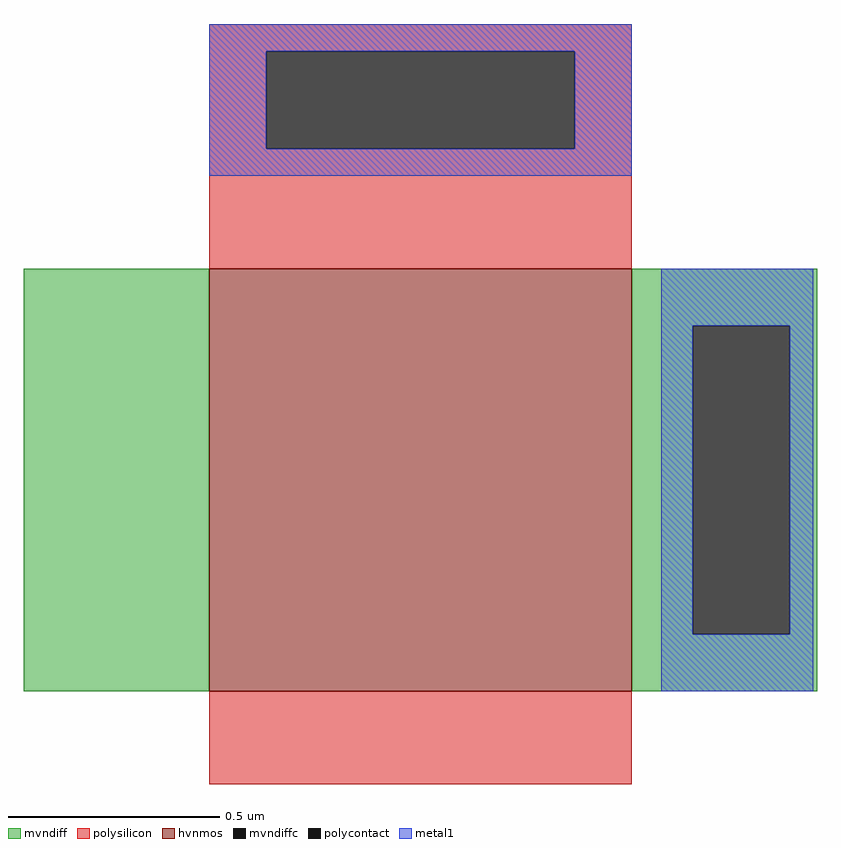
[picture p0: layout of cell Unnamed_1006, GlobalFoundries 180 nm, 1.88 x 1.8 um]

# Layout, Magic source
magic
tech gf180mcuD
magscale 1 10
<< hvnmos >>
rect 14 0 214 200
<< mvndiff >>
rect -74 0 14 200
rect 214 173 302 200
rect 214 27 243 173
rect 289 27 302 173
rect 214 0 302 27
<< mvndiffc >>
rect 243 27 289 173
<< polysilicon >>
rect 14 303 214 316
rect 14 257 41 303
rect 187 257 214 303
rect 14 200 214 257
rect 14 -44 214 0
<< polycontact >>
rect 41 257 187 303
<< metal1 >>
rect 14 303 214 316
rect 14 257 41 303
rect 187 257 214 303
rect 14 244 214 257
rect 228 173 300 200
rect 228 27 243 173
rect 289 27 300 173
rect 228 0 300 27
<< end >>
